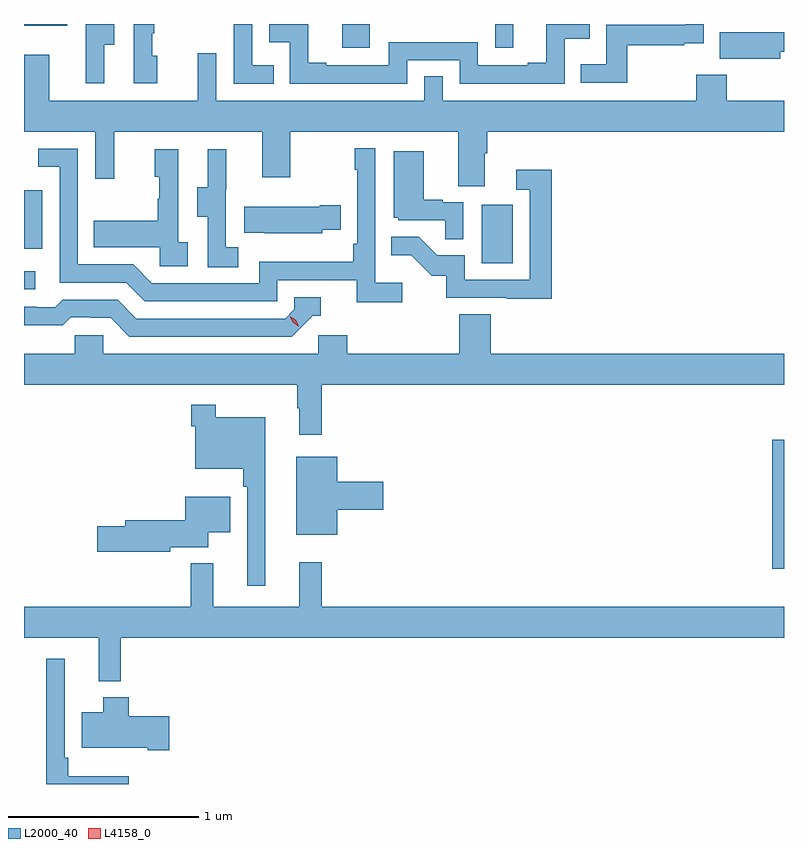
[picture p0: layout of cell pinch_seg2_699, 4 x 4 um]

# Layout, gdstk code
import gdstk
lib = gdstk.Library(unit=1e-6, precision=1e-09)
def R(c, l, rs):  # rectangles x0, y0, x1, y1
    for r in rs: c.add(gdstk.rectangle(r[:2], r[2:], *l))
def P(c, l, *ps):  # polygons
    for p in ps: c.add(gdstk.Polygon(p, *l))
L2000_40 = (2000, 40)
L4158_0 = (4158, 0)

pinch_seg2_699 = lib.new_cell('pinch_seg2_699')
R(pinch_seg2_699, L2000_40, [(1141.693,590.724,1141.755,591.404), (1137.755,592.194,1137.814,592.29), (1140.164,592.332,1140.328,592.639), (1139.431,593.466,1139.575,593.591), (1140.234,593.466,1140.331,593.591), (1137.755,593.582,1137.983,593.591)])
P(pinch_seg2_699, L2000_40, [(1139.772,593.4),(1140.048,593.4),(1140.048,593.277),(1140.6,593.277),(1140.6,593.513),(1140.732,593.513),(1140.732,593.591),(1140.503,593.591),(1140.503,593.386),(1140.407,593.386),(1140.407,593.373),(1140.144,593.373),(1140.144,593.496),(1139.676,593.496),(1139.676,593.373),(1139.347,593.373),(1139.347,593.386),(1139.252,593.386),(1139.252,593.591),(1139.046,593.591),(1139.046,593.496),(1139.154,593.496),(1139.154,593.277),(1139.772,593.277)],
  [(1138.177,593.482),(1138.231,593.482),(1138.231,593.591),(1138.08,593.591),(1138.08,593.493),(1138.079,593.493),(1138.079,593.28),(1138.177,593.28)],
  [(1138.456,593.424),(1138.431,593.424),(1138.431,593.543),(1138.441,593.543),(1138.441,593.591),(1138.332,593.591),(1138.332,593.28),(1138.456,593.28)],
  [(1139.069,593.373),(1138.956,593.373),(1138.956,593.591),(1138.86,593.591),(1138.86,593.277),(1139.069,593.277)],
  [(1140.931,593.478),(1141.229,593.478),(1141.229,593.489),(1141.332,593.489),(1141.332,593.591),(1141.236,593.591),(1141.236,593.586),(1140.82,593.586),(1140.82,593.38),(1140.685,593.38),(1140.685,593.283),(1140.931,593.283)],
  [(1141.735,593.446),(1141.755,593.446),(1141.755,593.547),(1141.631,593.547),(1141.631,593.548),(1141.417,593.548),(1141.417,593.408),(1141.735,593.408)],
  [(1140.181,592.912),(1140.194,592.912),(1140.194,593.024),(1141.755,593.024),(1141.755,593.188),(1141.454,593.188),(1141.454,593.323),(1141.294,593.323),(1141.294,593.188),(1139.958,593.188),(1139.958,593.315),(1139.862,593.315),(1139.862,593.188),(1138.767,593.188),(1138.767,593.437),(1138.67,593.437),(1138.67,593.188),(1137.889,593.188),(1137.889,593.428),(1137.755,593.428),(1137.755,593.024),(1138.131,593.024),(1138.131,592.776),(1138.229,592.776),(1138.229,593.024),(1139.009,593.024),(1139.009,592.785),(1139.157,592.785),(1139.157,593.024),(1140.041,593.024),(1140.041,592.738),(1140.181,592.738)],
  [(1139.746,592.228),(1139.604,592.228),(1139.604,592.936),(1139.496,592.936),(1139.496,592.823),(1139.508,592.823),(1139.508,592.435),(1139.488,592.435),(1139.488,592.339),(1138.992,592.339),(1138.992,592.227),(1138.428,592.227),(1138.329,592.326),(1138.038,592.326),(1138.038,592.935),(1137.829,592.935),(1137.829,592.839),(1137.942,592.839),(1137.942,592.23),(1138.292,592.23),(1138.391,592.131),(1139.088,592.131),(1139.088,592.242),(1139.507,592.242),(1139.507,592.126),(1139.746,592.126)],
  [(1138.882,592.415),(1138.818,592.415),(1138.818,592.719),(1138.82,592.719),(1138.82,592.933),(1138.721,592.933),(1138.721,592.731),(1138.667,592.731),(1138.667,592.576),(1138.722,592.576),(1138.722,592.312),(1138.882,592.312)],
  [(1138.618,592.442),(1138.566,592.442),(1138.566,592.933),(1138.442,592.933),(1138.442,592.788),(1138.468,592.788),(1138.468,592.67),(1138.458,592.67),(1138.458,592.555),(1138.123,592.555),(1138.123,592.415),(1138.47,592.415),(1138.47,592.317),(1138.618,592.317)],
  [(1140.066,592.653),(1139.96,592.653),(1139.96,592.666),(1139.86,592.666),(1139.86,592.921),(1139.702,592.921),(1139.702,592.572),(1139.724,592.572),(1139.724,592.557),(1139.971,592.557),(1139.971,592.459),(1140.066,592.459)],
  [(1140.533,592.825),(1140.345,592.825),(1140.345,592.719),(1140.417,592.719),(1140.417,592.245),(1140.075,592.245),(1140.075,592.374),(1139.931,592.374),(1139.833,592.472),(1139.689,592.472),(1139.689,592.373),(1139.793,592.373),(1139.9,592.266),(1139.977,592.266),(1139.977,592.149),(1140.295,592.149),(1140.295,592.144),(1140.533,592.144)],
  [(1137.852,592.716),(1137.755,592.716),(1137.755,592.619),(1137.756,592.619),(1137.756,592.407),(1137.852,592.407)],
  [(1139.325,592.508),(1139.423,592.508),(1139.423,592.638),(1139.312,592.638),(1139.312,592.63),(1138.915,592.63),(1138.915,592.493),(1139.023,592.493),(1139.023,592.49),(1139.325,592.49)],
  [(1139.274,592.056),(1139.317,592.056),(1139.317,592.152),(1139.178,592.152),(1139.178,592.089),(1139.13,592.041),(1138.347,592.041),(1138.248,592.14),(1137.959,592.14),(1137.92,592.101),(1137.821,592.101),(1137.821,592.104),(1137.755,592.104),(1137.755,592.005),(1137.959,592.005),(1138.001,592.047),(1138.104,592.047),(1138.104,592.044),(1138.211,592.044),(1138.31,591.945),(1139.163,591.945)],
  [(1139.321,591.692),(1141.755,591.692),(1141.755,591.856),(1140.212,591.856),(1140.212,592.064),(1140.047,592.064),(1140.047,591.856),(1139.456,591.856),(1139.456,591.954),(1139.304,591.954),(1139.304,591.856),(1138.173,591.856),(1138.173,591.954),(1138.023,591.954),(1138.023,591.856),(1137.755,591.856),(1137.755,591.692),(1139.193,591.692),(1139.193,591.569),(1139.204,591.569),(1139.204,591.429),(1139.321,591.429)],
  [(1139.026,591.52),(1138.765,591.52),(1138.765,591.586),(1138.636,591.586),(1138.636,591.473),(1138.656,591.473),(1138.656,591.251),(1138.909,591.251),(1138.909,591.155),(1138.929,591.155),(1138.929,590.634),(1139.026,590.634)],
  [(1139.404,591.035),(1139.647,591.035),(1139.647,591.182),(1139.404,591.182),(1139.404,591.313),(1139.189,591.313),(1139.189,590.903),(1139.404,590.903)],
  [(1138.524,590.837),(1138.726,590.837),(1138.726,590.915),(1138.84,590.915),(1138.84,591.103),(1138.604,591.103),(1138.604,590.978),(1138.289,590.978),(1138.289,590.948),(1138.14,590.948),(1138.14,590.813),(1138.524,590.813)],
  [(1138.265,590.36),(1141.755,590.36),(1141.755,590.524),(1139.321,590.524),(1139.321,590.758),(1139.204,590.758),(1139.204,590.524),(1138.751,590.524),(1138.751,590.752),(1138.633,590.752),(1138.633,590.524),(1137.755,590.524),(1137.755,590.36),(1138.148,590.36),(1138.148,590.132),(1138.265,590.132)],
  [(1138.306,589.633),(1137.989,589.633),(1137.989,589.729),(1137.969,589.729),(1137.969,590.251),(1137.872,590.251),(1137.872,589.591),(1138.306,589.591)],
  [(1138.519,589.947),(1138.307,589.947),(1138.307,590.047),(1138.172,590.047),(1138.172,589.969),(1138.058,589.969),(1138.058,589.781),(1138.406,589.781),(1138.406,589.769),(1138.519,589.769)])
P(pinch_seg2_699, L4158_0, [(1139.199,592.001),(1139.169,592.021),(1139.153,592.054),(1139.153,592.054),(1139.154,592.054),(1139.184,592.034),(1139.2,592.002),(1139.2,592.001)])

lib.write_gds('pinch_seg2_699.gds')
